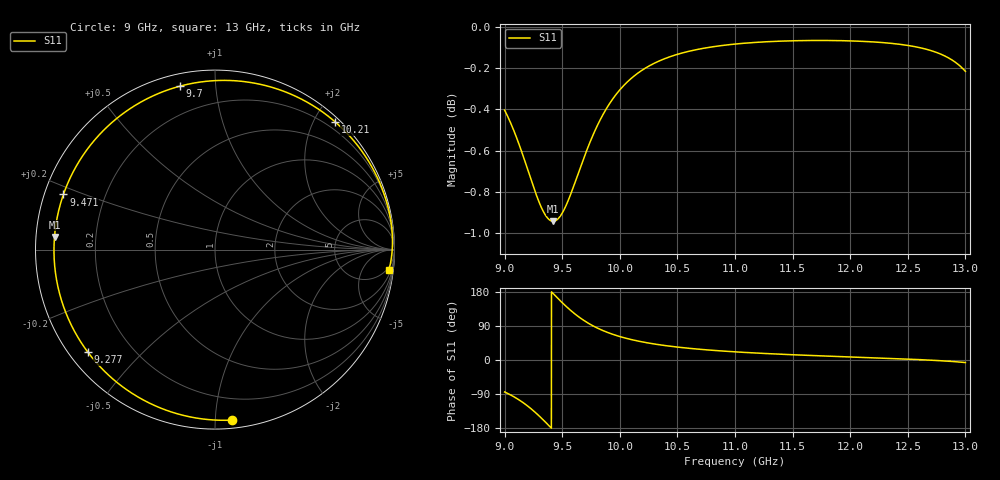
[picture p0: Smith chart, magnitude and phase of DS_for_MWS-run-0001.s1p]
! TOUCHSTONE file generated by CST DESIGN STUDIO
! Date and time: Tue Feb  4 17:06:36 2025
! Project name: C:\Work\MatlabApps\UnitCellOptimizationMatlab\CST\unitcell.cst
! Tree item: Tasks\Sweep1\SPara1\S-Parameters
! Header version: 2024
! Port assignment regex: !\s*Touchstone port\s*([0-9]+)\s*=\s*(CST MWS port|CST DES external port|CST DES block port)\s*(.+)\s* \(\"(.*)\"\)(\s*mode\s*([0-9]+))?.*
! Touchstone port assignment:
! Touchstone port 1 = CST DES external port 1 ("")
# GHz S MA R 50
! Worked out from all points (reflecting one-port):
!   4001 points, 9 GHz to 13 GHz, reference 50 ohm
!   lowest |S11| = -0.9 dB at 9.421 GHz (marker M1), VSWR 18.42, Z = 2.72 + j1.97 ohm
!   phase of S11 starts at -84 deg and turns -282 deg over the sweep
!   S11 on the Smith chart (normalised r, x): 9 GHz: 0.05, -1.10; 9.277 GHz: 0.05, -0.35; 9.471 GHz: 0.06, +0.18; 9.7 GHz: 0.06, +0.81; 10.21 GHz: 0.07, +2.31; 13 GHz: 3, -16
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9  0.9546 -84.3
9.082  0.9434 -97.2
9.152  0.932 -110.7
9.216  0.9206 -125.3
9.277  0.9101 -141.2
9.353  0.9002 -163.4
9.387  0.8978 -173.9
9.421  0.897 175.5
9.471  0.8987 160.0
9.5  0.9011 151.3
9.549  0.9071 137.4
9.597  0.9144 124.8
9.647  0.9226 113.1
9.7  0.9313 102.1
9.767  0.9413 90.2
9.846  0.9513 78.6
9.92  0.9589 69.8
10  0.9655 61.9
10.1  0.9717 53.9
10.212  0.9769 46.8
10.345  0.9813 40.1
10.5  0.9849 34.1
11  0.9906 21.5
11.5  0.9924 13.9
12  0.9923 8.1
12.5  0.9898 2.3
12.781  0.9851 -1.8
13  0.9755 -6.7
